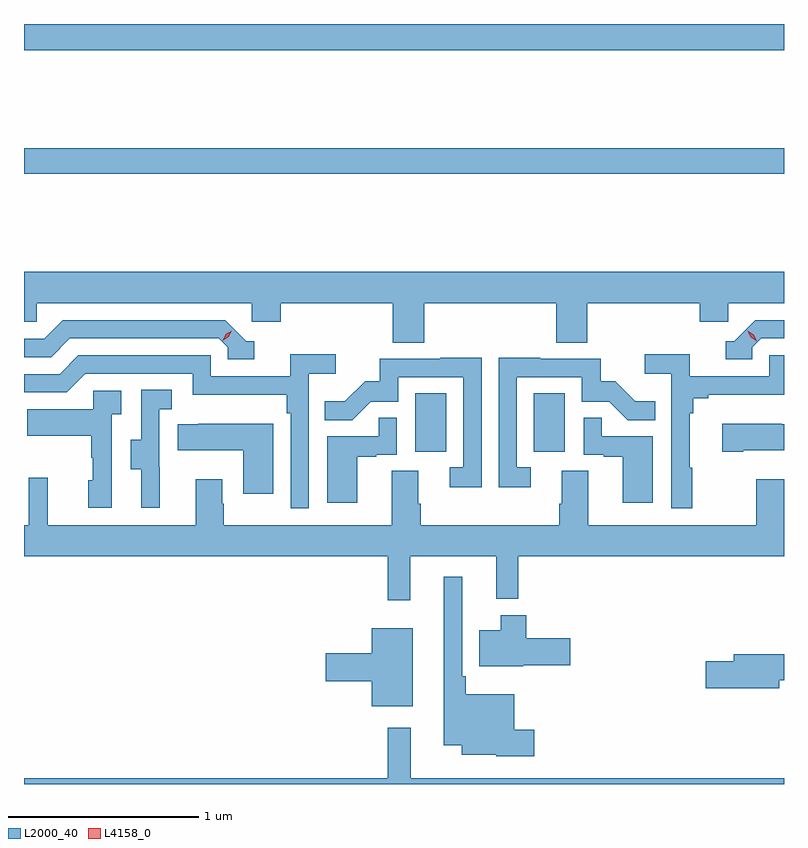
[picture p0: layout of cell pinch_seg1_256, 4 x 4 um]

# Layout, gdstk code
import gdstk
lib = gdstk.Library(unit=1e-6, precision=1e-09)
def R(c, l, rs):  # rectangles x0, y0, x1, y1
    for r in rs: c.add(gdstk.rectangle(r[:2], r[2:], *l))
def P(c, l, *ps):  # polygons
    for p in ps: c.add(gdstk.Polygon(p, *l))
L2000_40 = (2000, 40)
L4158_0 = (4158, 0)

pinch_seg1_256 = lib.new_cell('pinch_seg1_256')
R(pinch_seg1_256, L2000_40, [(950.798,574.926,950.962,575.233), (951.422,574.926,951.586,575.233), (948.739,576.388,952.739,576.524), (948.739,577.04,952.739,577.177)])
P(pinch_seg1_256, L2000_40, [(950.846,575.708),(951.539,575.708),(951.539,575.5),(951.704,575.5),(951.704,575.708),(952.295,575.708),(952.295,575.61),(952.446,575.61),(952.446,575.708),(952.739,575.708),(952.739,575.872),(948.739,575.872),(948.739,575.61),(948.807,575.61),(948.807,575.708),(949.938,575.708),(949.938,575.61),(950.09,575.61),(950.09,575.708),(950.681,575.708),(950.681,575.5),(950.846,575.5)],
  [(949.951,575.508),(949.908,575.508),(949.797,575.619),(948.944,575.619),(948.845,575.52),(948.739,575.52),(948.739,575.424),(948.882,575.424),(948.981,575.523),(949.764,575.523),(949.812,575.475),(949.812,575.412),(949.951,575.412)],
  [(952.572,575.475),(952.62,575.523),(952.739,575.523),(952.739,575.619),(952.587,575.619),(952.476,575.508),(952.433,575.508),(952.433,575.412),(952.572,575.412)],
  [(952.255,574.841),(952.243,574.841),(952.243,575.129),(952.262,575.129),(952.262,575.206),(952.339,575.206),(952.339,575.225),(952.739,575.225),(952.739,575.433),(952.662,575.433),(952.662,575.322),(952.244,575.322),(952.244,575.438),(952.005,575.438),(952.005,575.336),(952.146,575.336),(952.146,574.629),(952.255,574.629)],
  [(950.238,575.336),(950.38,575.336),(950.38,575.438),(950.141,575.438),(950.141,575.322),(949.722,575.322),(949.722,575.433),(949.025,575.433),(948.926,575.334),(948.739,575.334),(948.739,575.238),(948.963,575.238),(949.062,575.337),(949.626,575.337),(949.626,575.225),(950.122,575.225),(950.122,575.129),(950.142,575.129),(950.142,574.629),(950.238,574.629)],
  [(951.406,574.845),(951.333,574.845),(951.333,575.319),(951.675,575.319),(951.675,575.19),(951.819,575.19),(951.917,575.092),(952.061,575.092),(952.061,575.191),(951.957,575.191),(951.85,575.298),(951.774,575.298),(951.774,575.415),(951.455,575.415),(951.455,575.42),(951.237,575.42),(951.237,574.74),(951.406,574.74)],
  [(951.147,575.42),(950.929,575.42),(950.929,575.415),(950.611,575.415),(950.611,575.298),(950.534,575.298),(950.427,575.191),(950.323,575.191),(950.323,575.092),(950.467,575.092),(950.565,575.19),(950.709,575.19),(950.709,575.319),(951.051,575.319),(951.051,574.845),(950.979,574.845),(950.979,574.74),(951.147,574.74)],
  [(949.454,574.845),(949.452,574.845),(949.452,575.149),(949.516,575.149),(949.516,575.252),(949.356,575.252),(949.356,574.989),(949.301,574.989),(949.301,574.834),(949.355,574.834),(949.355,574.632),(949.454,574.632)],
  [(949.2,575.123),(949.252,575.123),(949.252,575.247),(949.104,575.247),(949.104,575.149),(948.757,575.149),(948.757,575.009),(949.092,575.009),(949.092,574.895),(949.102,574.895),(949.102,574.776),(949.076,574.776),(949.076,574.632),(949.2,574.632)],
  [(950.494,574.899),(950.594,574.899),(950.594,574.911),(950.7,574.911),(950.7,575.105),(950.605,575.105),(950.605,575.007),(950.336,575.007),(950.336,574.656),(950.494,574.656)],
  [(952.048,575.007),(951.779,575.007),(951.779,575.105),(951.684,575.105),(951.684,574.911),(951.791,574.911),(951.791,574.899),(951.89,574.899),(951.89,574.656),(952.048,574.656)],
  [(950.05,575.074),(949.657,575.074),(949.657,575.071),(949.549,575.071),(949.549,574.934),(949.892,574.934),(949.892,574.704),(950.05,574.704)],
  [(952.525,574.934),(952.739,574.934),(952.739,575.071),(952.727,575.071),(952.727,575.074),(952.413,575.074),(952.413,574.927),(952.525,574.927)],
  [(950.771,574.376),(951.224,574.376),(951.224,574.151),(951.341,574.151),(951.341,574.376),(952.739,574.376),(952.739,574.78),(952.594,574.78),(952.594,574.54),(951.709,574.54),(951.709,574.826),(951.569,574.826),(951.569,574.652),(951.557,574.652),(951.557,574.54),(950.828,574.54),(950.828,574.652),(950.815,574.652),(950.815,574.826),(950.675,574.826),(950.675,574.54),(949.791,574.54),(949.791,574.652),(949.783,574.652),(949.783,574.78),(949.643,574.78),(949.643,574.54),(948.863,574.54),(948.863,574.789),(948.765,574.789),(948.765,574.54),(948.739,574.54),(948.739,574.376),(950.653,574.376),(950.653,574.143),(950.771,574.143)],
  [(951.424,573.462),(951.319,573.462),(951.319,573.649),(951.065,573.649),(951.065,573.745),(951.045,573.745),(951.045,574.267),(950.948,574.267),(950.948,573.38),(951.044,573.38),(951.044,573.332),(951.225,573.332),(951.225,573.323),(951.424,573.323)],
  [(951.366,573.803),(951.613,573.803),(951.613,573.945),(951.383,573.945),(951.383,574.066),(951.248,574.066),(951.248,573.985),(951.134,573.985),(951.134,573.797),(951.366,573.797)],
  [(950.785,573.997),(950.57,573.997),(950.57,573.866),(950.328,573.866),(950.328,573.719),(950.57,573.719),(950.57,573.587),(950.785,573.587)],
  [(952.714,573.724),(952.739,573.724),(952.739,573.86),(952.475,573.86),(952.475,573.824),(952.326,573.824),(952.326,573.682),(952.714,573.682)],
  [(952.739,573.208),(950.774,573.208),(950.774,573.472),(950.653,573.472),(950.653,573.208),(948.739,573.208),(948.739,573.177),(952.739,573.177)])
P(pinch_seg1_256, L4158_0, [(952.595,575.508),(952.565,575.528),(952.549,575.561),(952.549,575.562),(952.549,575.562),(952.58,575.542),(952.596,575.509),(952.596,575.508)],
  [(949.786,575.511),(949.786,575.511),(949.802,575.544),(949.833,575.563),(949.833,575.563),(949.833,575.563),(949.817,575.53),(949.786,575.511)])

lib.write_gds('pinch_seg1_256.gds')
